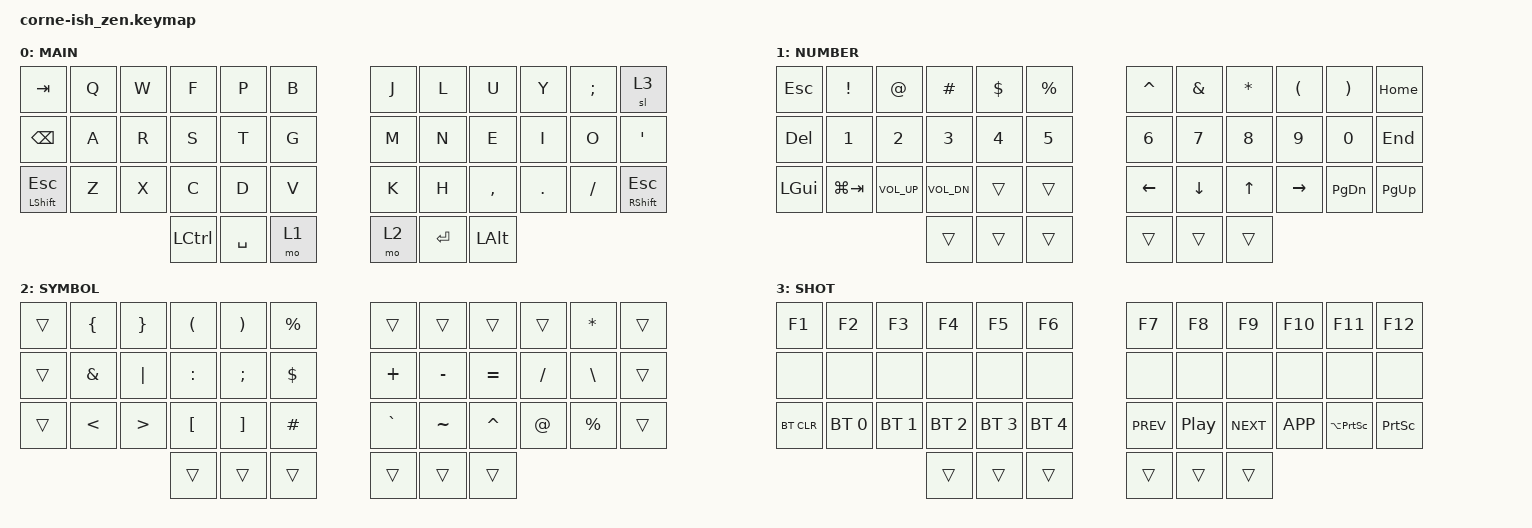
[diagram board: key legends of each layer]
/*
*
* Copyright (c) 2021 Darryl deHaan
* SPDX-License-Identifier: MIT
*
*/

#include <behaviors.dtsi>
#include <dt-bindings/zmk/keys.h>
#include <dt-bindings/zmk/bt.h>

&mt {
    tapping_term_ms = <150>;
};

&sl {
	release-after-ms = <1000>;
};


/ {
        keymap {
                compatible = "zmk,keymap";

                default_layer {
                        label = "MAIN";
// -----------------------------------------------------------------------------------------
// |  TAB |  Q  |  W  |  F  |  P  |  B |   |  J  |  L   |  U  |  Y  |  ;  |1sht 3|
// | BACK |  A  |  R  |  S  |  T  |  G  |   |  M  |  N   |  E  |  I  |  O  |  '   |
// |ST/ESC|  Z  |  X  |  C  |  D  |  V  |   |  K  |  H   |  ,  |  .  |  /  | ESC  |
//                    | CTRL| SPC | ALT |   | LAY1| ENT  |LAY2 |
                        bindings = <
   &kp TAB          &kp Q &kp W &kp F &kp P &kp B   &kp J &kp L   &kp U     &kp Y   &kp SEMI &sl 3
   &kp BSPC         &kp A &kp R &kp S &kp T &kp G   &kp M &kp N   &kp E     &kp I   &kp O    &kp SQT
   &mt LSHFT ESC    &kp Z &kp X &kp C &kp D &kp V   &kp K &kp H   &kp COMMA &kp DOT &kp FSLH &mt RSHFT ESC
                    &kp LCTRL &kp SPACE &mo 1           &mo 2 &kp RET &kp LALT                           
>;
                };
                number_layer {
                        label = "NUMBER";
// -----------------------------------------------------------------------------------------
// |  ESC |  !   |  @  |  #  |  $  |  %  |   |  ^  |  &  |  *  |  (  |  )  | HOME |
// | DEL  |  1   |  2  |  3  |  4  |  5  |   |  6  |  7  |  8  |  9  |  0  | END  |
// | WIN  |WINTAB|VOL V|VOL ^|     |     |   | LEFT|DOWN |  UP |RIGHT|PGDWN| PGUP |
//                     |     |     |     |   |     |     |     |
                        bindings = <
   &kp ESC  &kp EXCL      &kp AT       &kp HASH     &kp DLLR &kp PRCNT      &kp CARET &kp AMPS &kp STAR &kp LPAR  &kp RPAR  &kp HOME
   &kp DEL  &kp N1        &kp N2       &kp N3       &kp N4   &kp N5         &kp N6    &kp N7   &kp N8   &kp N9    &kp N0    &kp END
   &kp LGUI &kp LG(TAB)   &kp C_VOL_UP &kp C_VOL_DN &trans   &trans         &kp LEFT  &kp DOWN &kp UP   &kp RIGHT &kp PG_DN &kp PG_UP
                                       &trans       &trans   &trans         &trans    &trans   &trans
                        >;
                };
                symbol_layer {
                        label = "SYMBOL";
                        bindings = <
   &trans  &kp LBRC &kp RBRC &kp LPAR  &kp RPAR &kp PRCNT   &trans    &trans    &trans    &trans   &kp STAR  &trans
   &trans  &kp AMPS &kp PIPE &kp COLON &kp SEMI &kp DLLR    &kp PLUS  &kp MINUS &kp EQUAL &kp FSLH &kp BSLH  &trans
   &trans  &kp LT   &kp GT   &kp LBKT  &kp RBKT &kp HASH    &kp GRAVE &kp TILDE &kp CARET &kp AT   &kp PRCNT &trans
                    	     &trans    &trans   &trans      &trans    &trans    &trans
                        >;
                };
                oneshot_layer {
                        label = "SHOT";
// -----------------------------------------------------------------------------------------
// |  TAB |  !  |  @  |  #  |  $  |  %  |   |  ^  |  &  |  *  |  (  |  )  | BKSP |
// | CTRL |     |     |     |     |     |   |  -  |  =  |  [  |  ]  |  \  |  `   |
// | SHFT |     |     |     |     |     |   |  _  |  +  |  {  |  }  | "|" |  ~   |
//                    | GUI |     | SPC |   | ENT |     | ALT |
                        bindings = <
   &kp F1 &kp F2 &kp F3 &kp F4  &kp F5 &kp F6   &kp F7 &kp F8 &kp F9 &kp F10 &kp F11 &kp F12
   &none  &none  &none  &none   &none  &none    &none  &none  &none  &none   &none   &none
   &bt BT_CLR &bt BT_SEL 0 &bt BT_SEL 1 &bt BT_SEL 2 &bt BT_SEL 3 &bt BT_SEL 4    &kp C_PREV &kp C_PP &kp C_NEXT &kp K_APP &kp LA(PSCRN) &kp PSCRN
                    	     &trans    &trans   &trans      &trans    &trans    &trans
                        >;
                };
        };
};
